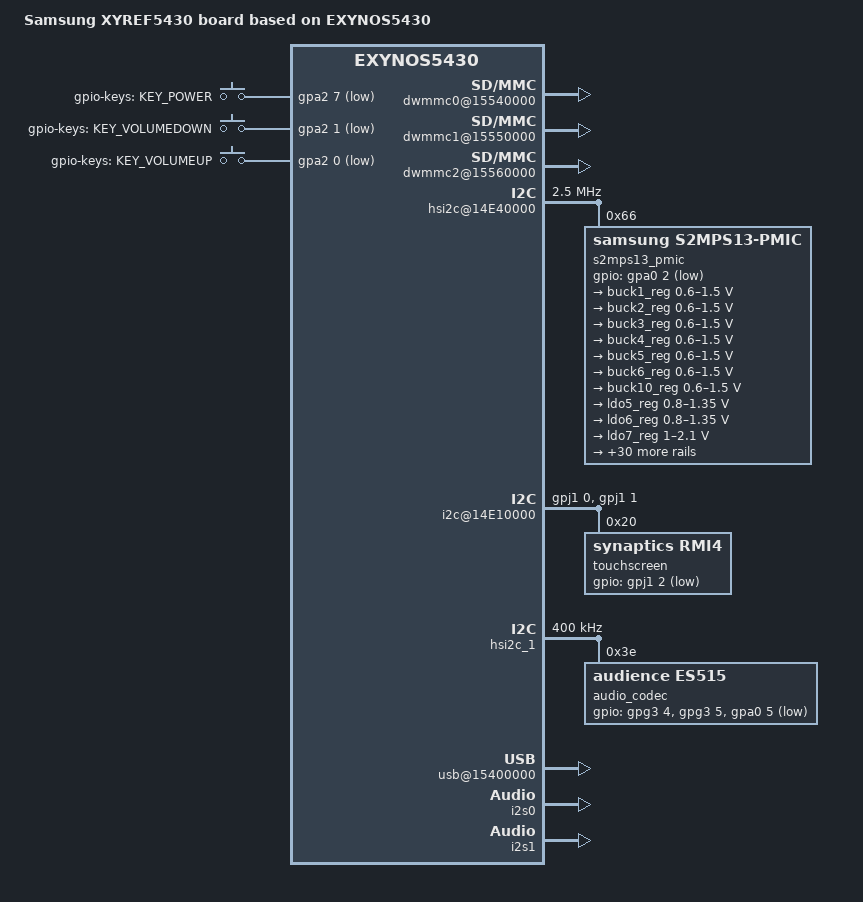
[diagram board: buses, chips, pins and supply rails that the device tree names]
/*
 * SAMSUNG XYREF5430 board device tree source
 *
 * Copyright (c) 2013 Samsung Electronics Co., Ltd.
 *		http://www.samsung.com
 *
 * This program is free software; you can redistribute it and/or modify
 * it under the terms of the GNU General Public License version 2 as
 * published by the Free Software Foundation.
*/

/dts-v1/;
#include "exynos5430.dtsi"

/ {
	model = "Samsung XYREF5430 board based on EXYNOS5430";
	compatible = "samsung,XYREF5430", "samsung,exynos5430";

	chosen {
		bootargs = "console=ttySAC2,115200 vmalloc=512M clk_ignore_unused";
	};

	fixed-rate-clocks {
		oscclk {
			compatible = "samsung,exynos5430-oscclk";
			clock-frequency = <24000000>;
		};
	};

	rtc {
		status = "okey";
	};

	dwmmc0@15540000 {
		status = "okay";
		num-slots = <1>;
		broken-cd;
		bypass-smu;
		supports-highspeed;
		fifo-depth = <0x80>;
		card-detect-delay = <200>;
		samsung,dw-mshc-ciu-div = <3>;
		samsung,dw-mshc-sdr-timing = <0 4>;
		samsung,dw-mshc-ddr-timing = <0 2>;
		pinctrl-names = "default";
		pinctrl-0 = <&sd0_clk &sd0_cmd &sd0_rdqs &sd0_bus4 &sd0_bus8>;

		slot@0 {
			reg = <0>;
			bus-width = <8>;
		};
	};

	dwmmc1@15550000 {
		status = "okay";
		num-slots = <1>;
		supports-highspeed;
		fifo-depth = <0x40>;
		card-detect-delay = <200>;
		samsung,dw-mshc-ciu-div = <3>;
		samsung,dw-mshc-sdr-timing = <2 3>;
		samsung,dw-mshc-ddr-timing = <1 2>;
		pinctrl-names = "default";
		pinctrl-0 = <&sd1_clk &sd1_cmd &sd1_bus4>;

		slot@0 {
			reg = <0>;
			bus-width = <4>;
		};
	};


	dwmmc2@15560000 {
		status = "okay";
		num-slots = <1>;
		supports-highspeed;
		fifo-depth = <0x40>;
		card-detect-delay = <200>;
		samsung,dw-mshc-ciu-div = <3>;
		samsung,dw-mshc-sdr-timing = <2 3>;
		samsung,dw-mshc-ddr-timing = <1 2>;
		pinctrl-names = "default";
		pinctrl-0 = <&sd2_clk &sd2_cmd &sd2_cd &sd2_bus4>;

		slot@0 {
			reg = <0>;
			bus-width = <4>;
			disable-wp;
		};
	};

	hsi2c@14E40000 {
		samsung,hs-mode;
		clock-frequency = <2500000>;
		status = "okay";

		s2mps13_pmic@66 {
			gpios = <&gpa0 2 0xf>;
			compatible = "samsung,s2mps13-pmic";
			reg = <0x66>;
			pinctrl-names = "default";
			pinctrl-0 = <&pmic_irq>;
			wtsr_smpl = <1>;

			regulators {
				buck1_reg: BUCK1 {
					regulator-name = "vdd_mif";
					regulator-min-microvolt = <600000>;
					regulator-max-microvolt = <1500000>;
					regulator-always-on;
					regulator-boot-on;
					regulator-ramp-delay = <12000>;
					regulator-initial-mode = <1>;
				};

				buck2_reg: BUCK2 {
					regulator-name = "vdd_eagle";
					regulator-min-microvolt = <600000>;
					regulator-max-microvolt = <1500000>;
					regulator-always-on;
					regulator-boot-on;
					regulator-ramp-delay = <12000>;
					regulator-initial-mode = <1>;
				};

				buck3_reg: BUCK3 {
					regulator-name = "vdd_kfc";
					regulator-min-microvolt = <600000>;
					regulator-max-microvolt = <1500000>;
					regulator-always-on;
					regulator-boot-on;
					regulator-ramp-delay = <12000>;
					regulator-initial-mode = <1>;
				};

				buck4_reg: BUCK4 {
					regulator-name = "vdd_int";
					regulator-min-microvolt = <600000>;
					regulator-max-microvolt = <1500000>;
					regulator-always-on;
					regulator-boot-on;
					regulator-ramp-delay = <12000>;
					regulator-initial-mode = <1>;
				};

				buck5_reg: BUCK5 {
					regulator-name = "vdd_disp/cam0";
					regulator-min-microvolt = <600000>;
					regulator-max-microvolt = <1500000>;
					regulator-always-on;
					regulator-boot-on;
					regulator-ramp-delay = <12000>;
					regulator-initial-mode = <1>;
				};

				buck6_reg: BUCK6 {
					regulator-name = "vdd_g3d";
					regulator-min-microvolt = <600000>;
					regulator-max-microvolt = <1500000>;
					regulator-always-on;
					regulator-boot-on;
					regulator-ramp-delay = <12000>;
					regulator-initial-mode = <1>;
				};

				buck10_reg: BUCK10 {
					regulator-name = "vdd_mem2";
					regulator-min-microvolt = <600000>;
					regulator-max-microvolt = <1500000>;
					regulator-always-on;
					regulator-boot-on;
					regulator-ramp-delay = <12000>;
					regulator-initial-mode = <1>;
				};

				ldo5_reg: LDO5 {
					regulator-name = "vdd_ldo5";
					regulator-min-microvolt = <800000>;
					regulator-max-microvolt = <1350000>;
					regulator-always-on;
					regulator-initial-mode = <1>;
				};

				ldo6_reg: LDO6 {
					regulator-name = "vdd_ldo6";
					regulator-min-microvolt = <800000>;
					regulator-max-microvolt = <1350000>;
					regulator-always-on;
					regulator-initial-mode = <1>;
				};

				ldo7_reg: LDO7 {
					regulator-name = "vdd_ldo7";
					regulator-min-microvolt = <1000000>;
					regulator-max-microvolt = <2100000>;
					regulator-always-on;
					regulator-initial-mode = <1>;
				};

				ldo8_reg: LDO8 {
					regulator-name = "vdd_ldo8";
					regulator-min-microvolt = <1000000>;
					regulator-max-microvolt = <2100000>;
					regulator-always-on;
					regulator-initial-mode = <3>;
				};

				ldo9_reg: LDO9 {
					regulator-name = "vdd_ldo9";
					regulator-min-microvolt = <1000000>;
					regulator-max-microvolt = <2100000>;
					regulator-always-on;
					regulator-initial-mode = <1>;
				};

				ldo10_reg: LDO10 {
					regulator-name = "vdd_ldo10";
					regulator-min-microvolt = <1400000>;
					regulator-max-microvolt = <3400000>;
					regulator-always-on;
					regulator-initial-mode = <1>;
				};

				ldo11_reg: LDO11 {
					regulator-name = "vdd_ldo11";
					regulator-min-microvolt = <800000>;
					regulator-max-microvolt = <1350000>;
					regulator-always-on;
					regulator-initial-mode = <1>;
				};

				ldo12_reg: LDO12 {
					regulator-name = "vdd_ldo12";
					regulator-min-microvolt = <800000>;
					regulator-max-microvolt = <1350000>;
					regulator-always-on;
					regulator-initial-mode = <1>;
				};

				ldo13_reg: LDO13 {
					regulator-name = "vdd_ldo13";
					regulator-min-microvolt = <800000>;
					regulator-max-microvolt = <1350000>;
					regulator-always-on;
					regulator-initial-mode = <1>;
				};

				ldo14_reg: LDO14 {
					regulator-name = "vdd_ldo14";
					regulator-min-microvolt = <800000>;
					regulator-max-microvolt = <1350000>;
					regulator-always-on;
					regulator-initial-mode = <1>;
				};

				ldo15_reg: LDO15 {
					regulator-name = "vdd_ldo15";
					regulator-min-microvolt = <800000>;
					regulator-max-microvolt = <1350000>;
					regulator-always-on;
					regulator-initial-mode = <1>;
				};

				ldo16_reg: LDO16 {
					regulator-name = "vdd_ldo16";
					regulator-min-microvolt = <1400000>;
					regulator-max-microvolt = <3400000>;
					regulator-always-on;
					regulator-initial-mode = <1>;
				};

				ldo17_reg: LDO17 {
					regulator-name = "vdd_ldo17";
					regulator-min-microvolt = <1400000>;
					regulator-max-microvolt = <3400000>;
					regulator-always-on;
					regulator-initial-mode = <3>;
				};

				ldo18_reg: LDO18 {
					regulator-name = "vdd_ldo18";
					regulator-min-microvolt = <1000000>;
					regulator-max-microvolt = <2100000>;
					regulator-always-on;
					regulator-initial-mode = <3>;
				};

				ldo19_reg: LDO19 {
					regulator-name = "vdd_ldo19";
					regulator-min-microvolt = <1000000>;
					regulator-max-microvolt = <2100000>;
					regulator-always-on;
					regulator-initial-mode = <3>;
				};

				ldo20_reg: LDO20 {
					regulator-name = "vdd_ldo20";
					regulator-min-microvolt = <1400000>;
					regulator-max-microvolt = <3400000>;
					regulator-always-on;
					regulator-initial-mode = <3>;
				};

				ldo21_reg: LDO21 {
					regulator-name = "vdd_ldo21";
					regulator-min-microvolt = <1000000>;
					regulator-max-microvolt = <2100000>;
					regulator-always-on;
					regulator-initial-mode = <3>;
				};

				ldo22_reg: LDO22 {
					regulator-name = "vdd_ldo22";
					regulator-min-microvolt = <1000000>;
					regulator-max-microvolt = <2100000>;
					regulator-always-on;
					regulator-initial-mode = <3>;
				};

				ldo23_reg: LDO23 {
					regulator-name = "vdd_ldo23";
					regulator-min-microvolt = <800000>;
					regulator-max-microvolt = <1350000>;
					regulator-always-on;
					regulator-initial-mode = <3>;
				};

				ldo24_reg: LDO24 {
					regulator-name = "vdd_ldo24";
					regulator-min-microvolt = <800000>;
					regulator-max-microvolt = <1350000>;
					regulator-always-on;
					regulator-initial-mode = <3>;
				};

				ldo25_reg: LDO25 {
					regulator-name = "vdd_ldo25";
					regulator-min-microvolt = <1400000>;
					regulator-max-microvolt = <3400000>;
					regulator-always-on;
					regulator-initial-mode = <3>;
				};

				ldo26_reg: LDO26 {
					regulator-name = "vdd_ldo26";
					regulator-min-microvolt = <1400000>;
					regulator-max-microvolt = <3400000>;
					regulator-always-on;
					regulator-initial-mode = <3>;
				};

				ldo27_reg: LDO27 {
					regulator-name = "vdd_ldo27";
					regulator-min-microvolt = <1400000>;
					regulator-max-microvolt = <3400000>;
					regulator-always-on;
					regulator-initial-mode = <3>;
				};

				ldo28_reg: LDO28 {
					regulator-name = "vdd_ldo28";
					regulator-min-microvolt = <1000000>;
					regulator-max-microvolt = <2100000>;
					regulator-always-on;
					regulator-initial-mode = <3>;
				};

				ldo29_reg: LDO29 {
					regulator-name = "vdd_ldo29";
					regulator-min-microvolt = <1400000>;
					regulator-max-microvolt = <3400000>;
					regulator-always-on;
					regulator-initial-mode = <3>;
				};

				ldo30_reg: LDO30 {
					regulator-name = "tsp_avdd";
					regulator-min-microvolt = <1400000>;
					regulator-max-microvolt = <3400000>;
					regulator-always-on;
					regulator-initial-mode = <3>;
				};

				ldo31_reg: LDO31 {
					regulator-name = "tsp_io";
					regulator-min-microvolt = <1000000>;
					regulator-max-microvolt = <2100000>;
					regulator-always-on;
					regulator-initial-mode = <3>;
				};

				ldo32_reg: LDO32 {
					regulator-name = "vdd_ldo32";
					regulator-min-microvolt = <1000000>;
					regulator-max-microvolt = <2100000>;
					regulator-always-on;
					regulator-initial-mode = <3>;
				};

				ldo33_reg: LDO33 {
					regulator-name = "vdd_ldo33";
					regulator-min-microvolt = <1400000>;
					regulator-max-microvolt = <3400000>;
					regulator-always-on;
					regulator-initial-mode = <3>;
				};

				ldo34_reg: LDO34 {
					regulator-name = "vdd_ldo34";
					regulator-min-microvolt = <1000000>;
					regulator-max-microvolt = <2100000>;
					regulator-always-on;
					regulator-initial-mode = <3>;
				};
				ldo36_reg: LDO36 {
					regulator-name = "vdd_ldo36";
					regulator-min-microvolt = <800000>;
					regulator-max-microvolt = <1350000>;
					regulator-always-on;
					regulator-initial-mode = <3>;
				};

				ldo37_reg: LDO37 {
					regulator-name = "vdd_ldo37";
					regulator-min-microvolt = <1000000>;
					regulator-max-microvolt = <2100000>;
					regulator-always-on;
					regulator-initial-mode = <3>;
				};

				ldo38_reg: LDO38 {
					regulator-name = "vdd_ldo38";
					regulator-min-microvolt = <1400000>;
					regulator-max-microvolt = <3400000>;
					regulator-always-on;
					regulator-initial-mode = <3>;
				};
			};
		};
	};

	i2c@14E10000 {
		gpios = <&gpj1 0 0 /* sda */
			 &gpj1 1 0 /* scl */
			>;
		status = "okay";
		samsung,i2c-sda-delay = <100>;
		samsung,i2c-max-bus-freq = <400000>;
		#size-cells = <0>;
		status = "okay";
		touchscreen@20 {
			compatible = "synaptics,rmi4";
			reg = <0x20>;
			gpios = <&gpj1 2 0xf>;
			sensor_max_x = <1079>;
			sensor_max_y = <1919>;
			max_touch_width = <28>;
			irq_type = <8200>;
			firmware_name = "tsp_synaptics/synaptics_b0_h.fw";
			fac_firmware_name = "tsp_synaptics/synaptics_b0_fac.fw";
			num_of_rx = <28>;
			num_of_tx = <16>;
			panel_revision = <8>;
		};


	};

	hsi2c_1: hsi2c@14E50000 {
		compatible = "samsung,exynos5-hsi2c";
		clock-frequency = <400000>;	/* 400KHz */
		status = "okay";
		audio_codec: codec@3e {
			compatible = "audience,es515";
			reg = <0x3E>;
			gpios = <&gpg3 4 0	/* reset */
				 &gpg3 5 0	/* wakeup */
				 &gpa0 5 0xF>;	/* interrupt */
		};
	};

	spi_0: spi@14d20000 {
		status = "disabled";
	};

	spi_1: spi@14d30000 {
		status = "disabled";
	};

	spi_2: spi@14d40000 {
		status = "disabled";
	};

	/*disp_driver*/
	decon_fb: decon_fb {
		samsung,left_margin = <1>;
		samsung,right_margin = <1>;
		samsung,upper_margin = <10>;
		samsung,lower_margin = <1>;
		samsung,hsync_len = <1>;
		samsung,vsync_len = <1>;
		samsung,xres = <1080>;
		samsung,yres = <1920>;
		samsung,virtual_x = <1080>;
		samsung,virtual_y = <1920>;
		samsung,width = <71>;
		samsung,height = <114>;
		samsung,max_bpp = <32>;
		samsung,default_bpp = <24>;

		fb_info {
			vidcon0 = <0x00>;
			vidcon1 = <0x80>;
			default_win = <0>;
		};
		fb_win_info {
			left_margin = <20>;
			right_margin = <20>;
			upper_margin = <2>;
			lower_margin = <20>;
			hsync_len = <20>;
			vsync_len = <2>;
			xres = <1080>;
			yres = <1920>;
			virtual_x = <1080>;
			virtual_y = <1920>;
			width = <71>;
			height = <114>;
			max_bpp = <32>;
			default_bpp = <24>;
		};
		fb_driver_data {
			fb_win_variant_0 {
				has_osd_c = <1>;
				has_osd_d = <1>;
				osd_size_off = <0x08>;
				palette_size = <256>;
				VALID_BPP_1248 = <1>;
				VALID_BPP_13 = <1>;
				VALID_BPP_15 = <1>;
				VALID_BPP_16 = <1>;
				VALID_BPP_18 = <1>;
				VALID_BPP_19 = <1>;
				VALID_BPP_24 = <1>;
				VALID_BPP_25 = <1>;
				VALID_BPP_32 = <1>;
			};
			fb_win_variant_1 {
				has_osd_c = <1>;
				has_osd_d = <1>;
				has_osd_alpha = <1>;
				osd_size_off = <0x0c>;
				palette_size = <256>;
				VALID_BPP_1248 = <1>;
				VALID_BPP_13 = <1>;
				VALID_BPP_15 = <1>;
				VALID_BPP_16 = <1>;
				VALID_BPP_18 = <1>;
				VALID_BPP_19 = <1>;
				VALID_BPP_24 = <1>;
				VALID_BPP_25 = <1>;
				VALID_BPP_32 = <1>;
			};
			fb_win_variant_2 {
				has_osd_c = <1>;
				has_osd_d = <1>;
				has_osd_alpha = <1>;
				osd_size_off = <0x0c>;
				palette_size = <256>;
				VALID_BPP_1248 = <1>;
				VALID_BPP_13 = <1>;
				VALID_BPP_15 = <1>;
				VALID_BPP_16 = <1>;
				VALID_BPP_18 = <1>;
				VALID_BPP_19 = <1>;
				VALID_BPP_24 = <1>;
				VALID_BPP_25 = <1>;
				VALID_BPP_32 = <1>;
			};
			fb_win_variant_3 {
				has_osd_c = <1>;
				has_osd_alpha = <1>;
				palette_size = <256>;
				VALID_BPP_1248 = <1>;
				VALID_BPP_13 = <1>;
				VALID_BPP_15 = <1>;
				VALID_BPP_16 = <1>;
				VALID_BPP_18 = <1>;
				VALID_BPP_19 = <1>;
				VALID_BPP_24 = <1>;
				VALID_BPP_25 = <1>;
				VALID_BPP_32 = <1>;
			};
			fb_win_variant_4 {
				has_osd_c = <1>;
				has_osd_alpha = <1>;
				palette_size = <256>;
				VALID_BPP_1248 = <1>;
				VALID_BPP_13 = <1>;
				VALID_BPP_15 = <1>;
				VALID_BPP_16 = <1>;
				VALID_BPP_18 = <1>;
				VALID_BPP_19 = <1>;
				VALID_BPP_24 = <1>;
				VALID_BPP_25 = <1>;
				VALID_BPP_32 = <1>;
			};
		};
	};

	mipi_dsi: mipi_dsi {
		samsung,left_margin = <20>;
		samsung,right_margin = <20>;
		samsung,upper_margin = <2>;
		samsung,lower_margin = <20>;
		samsung,hsync_len = <20>;
		samsung,vsync_len = <2>;
		samsung,xres = <1080>;
		samsung,yres = <1920>;

		gpios = <&gpf0 0 0x1>;

		/* Interface definition: 0 - DSIM_COMMAND,
					 1 - DSIM_VDEO */
		e_interface = <0>;

		/* Pixel format : 0 - DSIM_CMD_3BPP,
				  1 - DSIM_CMD_8BPP,
				  2 - DSIM_CMD_12BPP,
				  3 - DSIM_CMD_16BPP,
				  4 - DSIM_VID_16BPP_565,
				  5 - DSIM_VID_18BPP_666PACKED,
				  6 - DSIM_18BPP_666LOOSELYPACKED,
				  7 - DSIM_24BPP_888 */
		e_pixel_format = <7>;

		/* main frame fifo auto flush at VSYNC pulse */
		auto_flush = <0>;
		eot_disable = <1>;
		auto_vertical_cnt = <0>;
		hse = <0>;
		hfp = <0>;
		hbp = <0>;
		hsa = <0>;

		/* num of data lane : 0 - DSIM_DATA_LANE_1,
				      1 - DSIM_DATA_LANE_2,
				      2 - DSIM_DATA_LANE_3,
				      3 - DSIM_DATA_LANE_4 */
		e_no_data_lane = <3>;
		/* byte clock divider : 0 - DSIM_PLL_OUT_DIV8,
					1 - DSIM_EXT_CLK_DIV8,
					2 - DSIM_EXT_CLK_BYPASS */
		e_byte_clk = <0>;
		/* Burst mode : 0 - DSIM_NON_BURST_SYNC_EVENT,
				2 - DSIM_NON_BURST_SYNC_PULSE,
				1 - DSIM_BURST
				4 - DSIM_NON_VIDEO_MODE */
		e_burst_mode = <1>;
		/* PMS
		   - 1. LCD_S6E8AA0 : p - 4, m - 80, s - 2
		   - 2. LCD_S6E3FA0(COMMAND): p - 2, m - 46, s - 1
		   - 3. LCD_S6E3FA0(VIDEO): p - 4, m - 75, s - 1 */
		p = <2>;
		m = <46>;
		s = <1>;
		/* D-PHY PLL stable time spec :min = 200usec ~ max 400usec */
		pll_stable_time = <500>;
		/* escape clk : 7MHz */
		esc_clk = <7000000>;
		/* stop state holding counter after bta change count 0 ~ 0xfff */
		stop_holding_cnt = <0x0fff>;
		/* bta timeout 0 ~ 0xff */
		bta_timeout = <0xff>;
		/* lp rx timeout 0 ~ 0xffff */
		rx_timeout = <0xffff>;
	};

	usb@15400000 {
		status = "okay";
	};

	gpio_keys {
		compatible = "gpio-keys";
		#address-cells = <1>;
		#size-cells = <0>;
		poll-interval = <100>;
		button@1 {
			label = "gpio-keys: KEY_POWER";
			linux,code = <116>;
			gpios = <&gpa2 7 0xf>;
			gpio-key,wakeup = <1>;
		};
		button@2 {
			label = "gpio-keys: KEY_VOLUMEDOWN";
			linux,code = <114>;
			gpios = <&gpa2 1 0xf>;
		};
		button@3 {
			label = "gpio-keys: KEY_VOLUMEUP";
			linux,code = <115>;
			gpios = <&gpa2 0 0xf>;
		};
	};

	i2s0: i2s@11440000 {
		status = "okay";
	};

	i2s1: i2s@14D60000 {
		status = "okay";
	};

	audio_codec_dummy: dummy-codec {
		compatible = "samsung,dummy-codec";
		status = "okay";
	};

	sound {
		compatible = "samsung,xyref-es515";
		samsung,i2s-controller = <&i2s0		/* primary */
					  &i2s0		/* secondary */
					  &i2s1>;	/* hdmi */
		samsung,audio-codec = <&audio_codec
				       &audio_codec
				       &audio_codec_dummy>;
				       status = "okay";
	};
};
